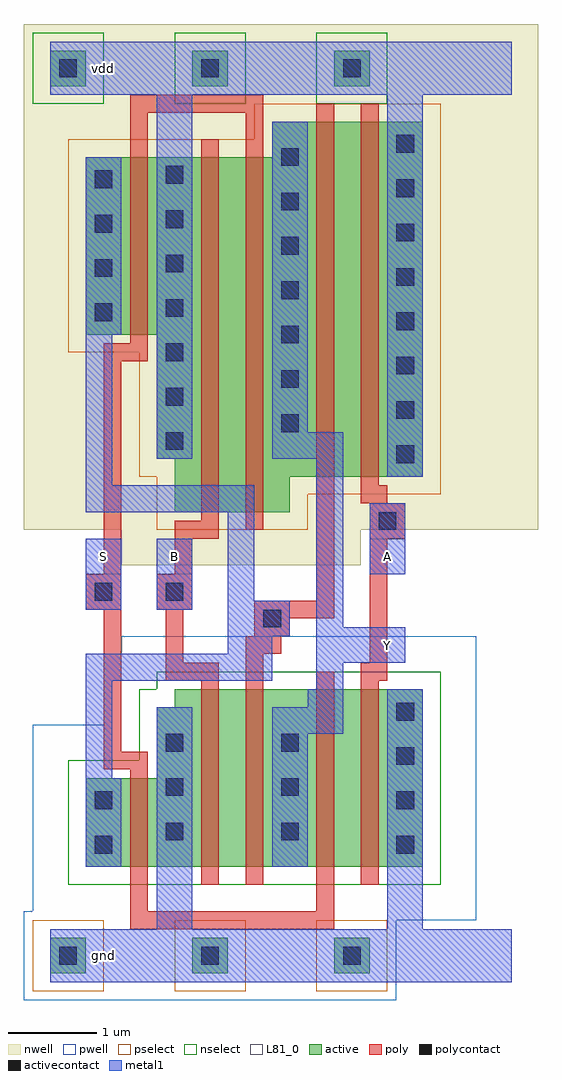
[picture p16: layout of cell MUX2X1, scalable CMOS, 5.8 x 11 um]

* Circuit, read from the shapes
.subckt MUX2X1 A B S Y gnd vdd
M1 gnd S n1 gnd nfet w=1u l=0.2u
M2 n2 B gnd gnd nfet w=2u l=0.2u
M3 Y n1 n2 gnd nfet w=2u l=0.2u
M4 n3 S Y gnd nfet w=2u l=0.2u
M5 gnd A n3 gnd nfet w=2u l=0.2u
M6 vdd S n1 vdd pfet w=2u l=0.2u
M7 n4 B vdd vdd pfet w=4u l=0.2u
M8 Y S n4 vdd pfet w=4u l=0.2u
M9 n5 n1 Y vdd pfet w=4u l=0.2u
M10 vdd A n5 vdd pfet w=4u l=0.2u
.ends

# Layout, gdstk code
import gdstk
lib = gdstk.Library(unit=1e-6, precision=1e-09)
def R(c, l, rs):  # rectangles x0, y0, x1, y1
    for r in rs: c.add(gdstk.rectangle(r[:2], r[2:], *l))
def A(c, l, x, y, w, h, nx, ny, dx, dy):  # array of equal rectangles
    R(c, l, [(x+i*dx, y+j*dy, x+i*dx+w, y+j*dy+h) for i in range(nx) for j in range(ny)])
pwell = (41, 0)
nwell = (42, 0)
active = (43, 0)
pselect = (44, 0)
nselect = (45, 0)
poly = (46, 0)
polycontact = (47, 0)
activecontact = (48, 0)
metal1 = (49, 0)
L81_0 = (81, 0)

mux2x1 = lib.new_cell('MUX2X1')
R(mux2x1, pwell, [(-0.5,-0.5,3.7,0.4), (-0.5,0.4,4.6,0.5), (-0.4,0.5,4.6,2.6), (0.4,2.6,4.6,3.4), (0.6,3.4,4.6,3.6)])
R(mux2x1, nwell, [(0.6,4.4,3.3,4.8), (-0.5,4.8,5.3,10.5)])
A(mux2x1, active, -0.2, -0.2, 0.4, 0.4, 3, 2, 1.6, 10)
R(mux2x1, active, [(0.2,1,4,2), (1,2,4,2.8), (1.2,2.8,4,3), (1.2,5,2.5,5.4), (1.2,5.4,4,5.6), (1,5.6,4,7), (0.2,7,4,9), (2.3,9,4,9.4)])
A(mux2x1, pselect, -0.4, -0.4, 0.8, 0.8, 3, 1, 1.6, 0)
R(mux2x1, pselect, [(1,4.8,2.7,5.2), (1,5.2,4.2,5.4), (0.8,5.4,4.2,6.8), (0,6.8,4.2,9.2), (2.1,9.2,4.2,9.6)])
A(mux2x1, nselect, -0.4, 9.6, 0.8, 0.8, 3, 1, 1.6, 0)
R(mux2x1, nselect, [(0,0.8,4.2,2.2), (0.8,2.2,4.2,3), (1,3,4.2,3.2)])
R(mux2x1, poly, [(0.7,0.3,3,0.5), (0.7,0.5,0.9,2.1), (2.8,0.5,3,3.2), (1.5,0.8,1.7,3.1), (2,0.8,2.2,3.4), (3.3,0.8,3.5,3.1), (0.4,2.1,0.9,2.3), (0.4,2.3,0.6,3.9), (1.1,3.1,1.7,3.3), (3.3,3.1,3.6,3.3), (1.1,3.3,1.3,3.9), (3.4,3.3,3.6,4.7), (2,3.4,2.4,3.6), (2.1,3.6,2.5,3.8), (2.1,3.8,3,4), (0.2,3.9,0.6,4.3), (1,3.9,1.4,4.3), (2.8,4,3,9.6), (0.4,4.3,0.6,6.7), (1.2,4.3,1.4,4.7), (1.2,4.7,1.7,4.9), (3.4,4.7,3.8,5.1), (2,4.8,2.2,9.5), (1.5,4.9,1.7,9.2), (3.3,5.1,3.6,5.3), (3.3,5.3,3.5,9.6), (0.4,6.7,0.9,6.9), (0.7,6.9,0.9,9.5), (0.7,9.5,2.2,9.7)])
R(mux2x1, polycontact, [(2.2,3.7,2.4,3.9), (0.3,4,0.5,4.2), (1.1,4,1.3,4.2), (3.5,4.8,3.7,5)])
A(mux2x1, activecontact, -0.1, -0.1, 0.2, 0.2, 3, 2, 1.6, 10)
A(mux2x1, activecontact, 3.7, 1.15, 0.2, 0.2, 1, 4, 0, 0.5)
A(mux2x1, activecontact, 1.1, 1.3, 0.2, 0.2, 1, 3, 0, 0.5)
A(mux2x1, activecontact, 2.4, 1.3, 0.2, 0.2, 1, 3, 0, 0.5)
A(mux2x1, activecontact, 3.7, 5.55, 0.2, 0.2, 1, 8, 0, 0.5)
A(mux2x1, activecontact, 1.1, 5.7, 0.2, 0.2, 1, 7, 0, 0.5)
A(mux2x1, activecontact, 2.4, 5.9, 0.2, 0.2, 1, 7, 0, 0.5)
A(mux2x1, activecontact, 0.3, 7.15, 0.2, 0.2, 1, 4, 0, 0.5)
R(mux2x1, activecontact, [(0.3,1.15,0.5,1.35), (0.3,1.65,0.5,1.85)])
R(mux2x1, metal1, [(-0.2,-0.3,5,0.3), (1,0.3,1.4,2.8), (3.6,0.3,4,3), (0.2,1,0.6,2), (2.3,1,2.7,2.5), (0.2,2,0.5,3.1), (2.3,2.5,3.1,2.8), (2.7,2.8,3.1,3), (2.8,3,3.1,3.3), (0.2,3.1,2.3,3.4), (2.8,3.3,3.8,3.7), (1.8,3.4,2.3,3.6), (1.8,3.6,2.5,4), (2.8,3.7,3.1,5.6), (0.2,3.9,0.6,4.7), (1,3.9,1.4,4.7), (1.8,4,2.1,5), (3.4,4.3,3.8,5.1), (0.2,5,2.1,5.3), (0.2,5.3,0.5,7), (3.6,5.4,4,9.7), (1,5.6,1.4,9.7), (2.3,5.6,3.1,5.9), (2.3,5.9,2.7,9.4), (0.2,7,0.6,9), (-0.2,9.7,5,10.3)])
R(mux2x1, L81_0, [(3.4,3.3,3.8,3.7), (0.2,4.3,0.6,4.7), (1,4.3,1.4,4.7), (3.4,4.3,3.8,4.7)])
mux2x1.add(gdstk.Label('S', (0.4,4.5), layer=49, texttype=0))
mux2x1.add(gdstk.Label('vdd', (0.4,10), layer=49, texttype=0))
mux2x1.add(gdstk.Label('gnd', (0.4,0), layer=49, texttype=0))
mux2x1.add(gdstk.Label('Y', (3.6,3.5), layer=49, texttype=0))
mux2x1.add(gdstk.Label('A', (3.6,4.5), layer=49, texttype=0))
mux2x1.add(gdstk.Label('B', (1.2,4.5), layer=49, texttype=0))

lib.write_gds('MUX2X1.gds')
